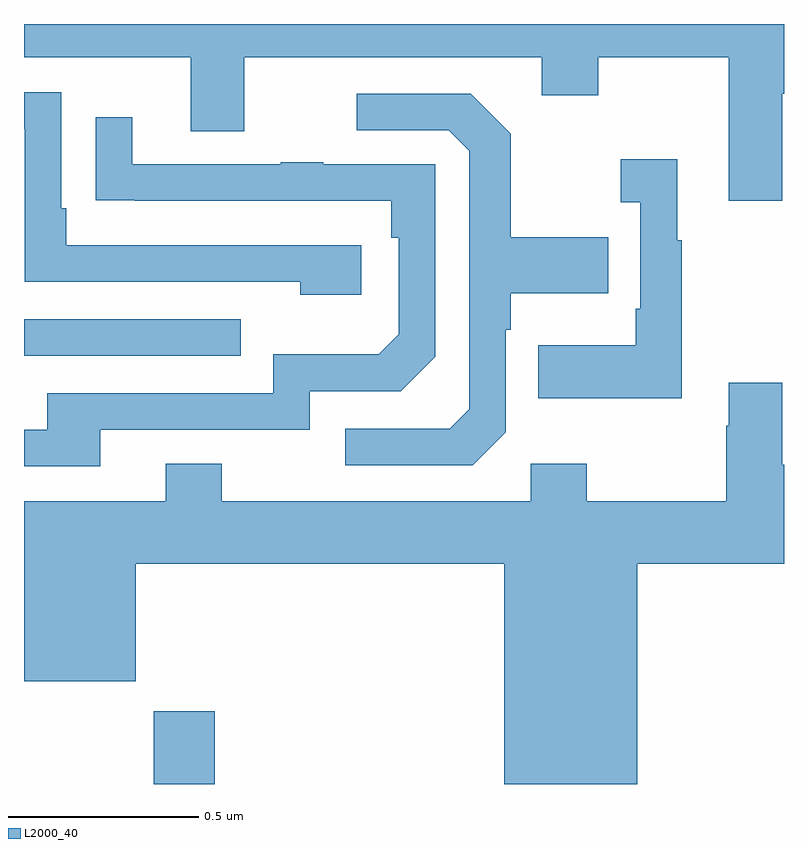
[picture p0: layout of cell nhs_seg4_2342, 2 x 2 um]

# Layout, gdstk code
import gdstk
lib = gdstk.Library(unit=1e-6, precision=1e-09)
def R(c, l, rs):  # rectangles x0, y0, x1, y1
    for r in rs: c.add(gdstk.rectangle(r[:2], r[2:], *l))
def P(c, l, *ps):  # polygons
    for p in ps: c.add(gdstk.Polygon(p, *l))
L2000_40 = (2000, 40)

nhs_seg4_2342 = lib.new_cell('nhs_seg4_2342')
R(nhs_seg4_2342, L2000_40, [(139.342,802.9,139.502,803.092), (139,804.027,139.571,804.123)])
P(nhs_seg4_2342, L2000_40, [(140.995,804.716),(141,804.716),(141,804.9),(139,804.9),(139,804.812),(139.439,804.812),(139.439,804.618),(139.579,804.618),(139.579,804.812),(140.363,804.812),(140.363,804.713),(140.511,804.713),(140.511,804.812),(140.855,804.812),(140.855,804.435),(140.995,804.435)],
  [(139.888,804.318),(139.111,804.318),(139.111,804.415),(139.098,804.415),(139.098,804.72),(139,804.72),(139,804.624),(139.002,804.624),(139.002,804.222),(139.727,804.222),(139.727,804.188),(139.888,804.188)],
  [(140.268,803.826),(140.268,804.095),(140.281,804.095),(140.281,804.191),(140.537,804.191),(140.537,804.339),(140.281,804.339),(140.281,804.611),(140.175,804.717),(139.875,804.717),(139.875,804.621),(140.118,804.621),(140.172,804.567),(140.172,803.886),(140.121,803.835),(139.845,803.835),(139.845,803.739),(140.181,803.739)],
  [(139.201,803.832),(139.752,803.832),(139.752,803.934),(139.992,803.934),(140.082,804.024),(140.082,804.531),(139.787,804.531),(139.787,804.536),(139.675,804.536),(139.675,804.531),(139.285,804.531),(139.285,804.655),(139.189,804.655),(139.189,804.436),(139.291,804.436),(139.291,804.435),(139.966,804.435),(139.966,804.338),(139.986,804.338),(139.986,804.084),(139.933,804.031),(139.656,804.031),(139.656,803.928),(139.061,803.928),(139.061,803.832),(139,803.832),(139,803.736),(139.201,803.736)],
  [(140.731,804.331),(140.719,804.331),(140.719,804.544),(140.571,804.544),(140.571,804.431),(140.622,804.431),(140.622,804.151),(140.61,804.151),(140.61,804.055),(140.353,804.055),(140.353,803.915),(140.731,803.915)],
  [(140.614,803.48),(141,803.48),(141,803.74),(140.995,803.74),(140.995,803.956),(140.855,803.956),(140.855,803.843),(140.848,803.843),(140.848,803.644),(140.481,803.644),(140.481,803.743),(140.334,803.743),(140.334,803.644),(139.521,803.644),(139.521,803.743),(139.373,803.743),(139.373,803.644),(139,803.644),(139,803.171),(139.294,803.171),(139.294,803.48),(140.264,803.48),(140.264,802.9),(140.614,802.9)])

lib.write_gds('nhs_seg4_2342.gds')
